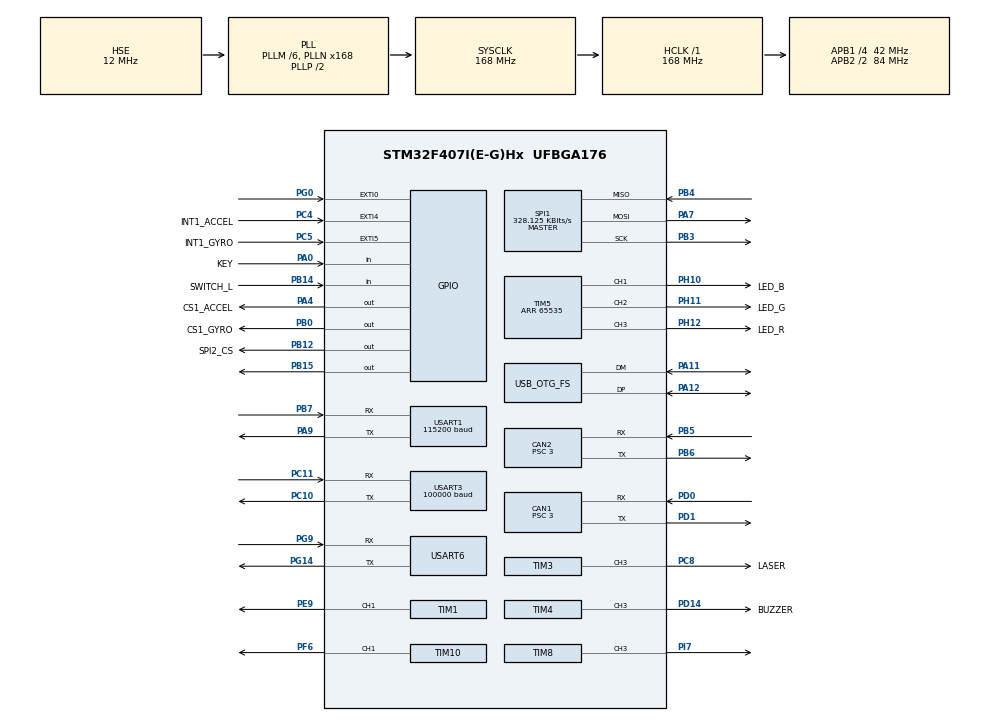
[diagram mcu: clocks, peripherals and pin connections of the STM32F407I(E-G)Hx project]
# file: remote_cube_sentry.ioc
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ADC1.Channel-0\#ChannelRegularConversion=ADC_CHANNEL_TEMPSENSOR
ADC1.ClockPrescaler=ADC_CLOCK_SYNC_PCLK_DIV6
ADC1.NbrOfConversionFlag=1
ADC1.Rank-0\#ChannelRegularConversion=1
ADC1.SamplingTime-0\#ChannelRegularConversion=ADC_SAMPLETIME_3CYCLES
ADC1.master=1
CAN1.ABOM=ENABLE
CAN1.BS1=CAN_BS1_10TQ
CAN1.BS2=CAN_BS2_3TQ
CAN1.CalculateBaudRate=1000000
CAN1.CalculateTimeBit=1000
CAN1.CalculateTimeQuantum=71.42857142857143
CAN1.NART=ENABLE
CAN1.Prescaler=3
CAN1.RFLM=DISABLE
CAN2.ABOM=ENABLE
CAN2.BS1=CAN_BS1_10TQ
CAN2.BS2=CAN_BS2_3TQ
CAN2.CalculateBaudRate=1000000
CAN2.CalculateTimeBit=1000
CAN2.CalculateTimeQuantum=71.42857142857143
CAN2.NART=ENABLE
CAN2.Prescaler=3
Dma.Request0=SPI1_RX
Dma.Request1=SPI1_TX
Dma.Request2=USART3_RX
Dma.Request3=USART6_RX
Dma.Request4=USART6_TX
Dma.SPI1_RX.0.Direction=DMA_PERIPH_TO_MEMORY
Dma.SPI1_RX.0.FIFOMode=DMA_FIFOMODE_DISABLE
Dma.SPI1_RX.0.Instance=DMA2_Stream2
Dma.SPI1_RX.0.MemDataAlignment=DMA_MDATAALIGN_BYTE
Dma.SPI1_RX.0.MemInc=DMA_MINC_ENABLE
Dma.SPI1_RX.0.Mode=DMA_NORMAL
Dma.SPI1_RX.0.PeriphDataAlignment=DMA_PDATAALIGN_BYTE
Dma.SPI1_RX.0.PeriphInc=DMA_PINC_DISABLE
Dma.SPI1_RX.0.Priority=DMA_PRIORITY_VERY_HIGH
Dma.SPI1_TX.1.Direction=DMA_MEMORY_TO_PERIPH
Dma.SPI1_TX.1.FIFOMode=DMA_FIFOMODE_DISABLE
Dma.SPI1_TX.1.Instance=DMA2_Stream3
Dma.SPI1_TX.1.MemDataAlignment=DMA_MDATAALIGN_BYTE
Dma.SPI1_TX.1.MemInc=DMA_MINC_ENABLE
Dma.SPI1_TX.1.Mode=DMA_NORMAL
Dma.SPI1_TX.1.PeriphDataAlignment=DMA_PDATAALIGN_BYTE
Dma.SPI1_TX.1.PeriphInc=DMA_PINC_DISABLE
Dma.SPI1_TX.1.Priority=DMA_PRIORITY_HIGH
Dma.USART3_RX.2.Direction=DMA_PERIPH_TO_MEMORY
Dma.USART3_RX.2.FIFOMode=DMA_FIFOMODE_DISABLE
Dma.USART3_RX.2.Instance=DMA1_Stream1
Dma.USART3_RX.2.MemDataAlignment=DMA_MDATAALIGN_BYTE
Dma.USART3_RX.2.MemInc=DMA_MINC_ENABLE
Dma.USART3_RX.2.Mode=DMA_NORMAL
Dma.USART3_RX.2.PeriphDataAlignment=DMA_PDATAALIGN_BYTE
Dma.USART3_RX.2.PeriphInc=DMA_PINC_DISABLE
Dma.USART3_RX.2.Priority=DMA_PRIORITY_HIGH
Dma.USART6_RX.3.Direction=DMA_PERIPH_TO_MEMORY
Dma.USART6_RX.3.FIFOMode=DMA_FIFOMODE_ENABLE
Dma.USART6_RX.3.FIFOThreshold=DMA_FIFO_THRESHOLD_FULL
Dma.USART6_RX.3.Instance=DMA2_Stream1
Dma.USART6_RX.3.MemBurst=DMA_MBURST_SINGLE
Dma.USART6_RX.3.MemDataAlignment=DMA_MDATAALIGN_BYTE
Dma.USART6_RX.3.MemInc=DMA_MINC_ENABLE
Dma.USART6_RX.3.Mode=DMA_NORMAL
Dma.USART6_RX.3.PeriphBurst=DMA_PBURST_SINGLE
Dma.USART6_RX.3.PeriphDataAlignment=DMA_PDATAALIGN_BYTE
Dma.USART6_RX.3.PeriphInc=DMA_PINC_DISABLE
Dma.USART6_RX.3.Priority=DMA_PRIORITY_HIGH
Dma.USART6_TX.4.Direction=DMA_MEMORY_TO_PERIPH
Dma.USART6_TX.4.FIFOMode=DMA_FIFOMODE_DISABLE
Dma.USART6_TX.4.Instance=DMA2_Stream6
Dma.USART6_TX.4.MemDataAlignment=DMA_MDATAALIGN_BYTE
Dma.USART6_TX.4.MemInc=DMA_MINC_ENABLE
Dma.USART6_TX.4.Mode=DMA_NORMAL
Dma.USART6_TX.4.PeriphDataAlignment=DMA_PDATAALIGN_BYTE
Dma.USART6_TX.4.PeriphInc=DMA_PINC_DISABLE
Dma.USART6_TX.4.Priority=DMA_PRIORITY_MEDIUM
FREERTOS.INCLUDE_eTaskGetState=1
FREERTOS.INCLUDE_pcTaskGetTaskName=1
FREERTOS.INCLUDE_uxTaskGetStackHighWaterMark=0
FREERTOS.INCLUDE_vTaskCleanUpResources=1
FREERTOS.INCLUDE_vTaskDelayUntil=1
FREERTOS.INCLUDE_xEventGroupSetBitFromISR=0
FREERTOS.INCLUDE_xQueueGetMutexHolder=1
FREERTOS.INCLUDE_xSemaphoreGetMutexHolder=1
FREERTOS.INCLUDE_xTaskAbortDelay=1
FREERTOS.INCLUDE_xTaskGetCurrentTaskHandle=1
FREERTOS.INCLUDE_xTaskGetHandle=1
FREERTOS.Tasks01=defaultTask,0,128,StartDefaultTask,Default,NULL,Dynamic,NULL,NULL;CalibrateTask,0,512,calibrate_task,As weak,NULL,Dynamic,NULL,NULL;ChassisTask,-2,512,chassis_task,As weak,NULL,Dynamic,NULL,NULL;gimbalTask,2,512,gimbal_task,As weak,NULL,Dynamic,NULL,NULL;imuTask,-3,512,INS_task,As weak,NULL,Dynamic,NULL,NULL;detectTask,-3,128,detect_task,As weak,NULL,Dynamic,NULL,NULL;RefereeTask,0,128,Referee_send_task,As weak,NULL,Dynamic,NULL,NULL;left_gimbalTask,0,128,left_gimbal,As weak,NULL,Dynamic,NULL,NULL;right_gimbalTas,0,128,right_gimbal,As weak,NULL,Dynamic,NULL,NULL
FREERTOS.configCHECK_FOR_STACK_OVERFLOW=0
FREERTOS.configTOTAL_HEAP_SIZE=24576
FREERTOS.configUSE_NEWLIB_REENTRANT=1
Mcu.Family=STM32F4
Mcu.Name=STM32F407I(E-G)Hx
Mcu.Package=UFBGA176
NVIC.CAN1_RX0_IRQn=true\:5\:0\:false\:false\:true\:true\:true\:true\:true
NVIC.CAN1_RX1_IRQn=true\:5\:0\:false\:false\:true\:true\:true\:true\:true
NVIC.CAN2_RX0_IRQn=true\:5\:0\:false\:false\:true\:true\:true\:true\:true
NVIC.CAN2_RX1_IRQn=true\:5\:0\:false\:false\:true\:true\:true\:true\:true
NVIC.DMA1_Stream1_IRQn=true\:5\:0\:false\:false\:true\:true\:false\:true\:true
NVIC.DMA2_Stream1_IRQn=true\:5\:0\:false\:false\:true\:true\:false\:true\:true
NVIC.DMA2_Stream2_IRQn=true\:5\:0\:false\:false\:false\:true\:false\:true\:true
NVIC.DMA2_Stream3_IRQn=true\:5\:0\:false\:false\:true\:true\:false\:true\:true
NVIC.DMA2_Stream6_IRQn=true\:5\:0\:false\:false\:true\:true\:false\:true\:true
NVIC.EXTI0_IRQn=true\:5\:0\:false\:false\:true\:true\:true\:true\:true
NVIC.EXTI4_IRQn=true\:5\:0\:false\:false\:true\:true\:true\:true\:true
NVIC.EXTI9_5_IRQn=true\:5\:0\:false\:false\:true\:true\:true\:true\:true
NVIC.OTG_FS_IRQn=true\:5\:0\:false\:false\:true\:true\:false\:true\:true
NVIC.PriorityGroup=NVIC_PRIORITYGROUP_4
NVIC.TIM2_IRQn=true\:15\:0\:false\:false\:true\:false\:false\:true\:true
NVIC.TimeBase=TIM2_IRQn
NVIC.TimeBaseIP=TIM2
NVIC.USART1_IRQn=true\:5\:0\:false\:false\:true\:true\:true\:true\:true
NVIC.USART3_IRQn=true\:5\:0\:false\:false\:false\:true\:true\:true\:true
NVIC.USART6_IRQn=true\:5\:0\:false\:false\:false\:true\:true\:true\:true
PA0-WKUP.GPIO_Label=KEY
PA0-WKUP.GPIO_PuPd=GPIO_PULLUP
PA0-WKUP.Signal=GPIO_Input
PA11.Mode=Device_Only
PA11.Signal=USB_OTG_FS_DM
PA12.Mode=Device_Only
PA12.Signal=USB_OTG_FS_DP
PA13.Mode=Serial_Wire
PA13.Signal=SYS_JTMS-SWDIO
PA14.Mode=Serial_Wire
PA14.Signal=SYS_JTCK-SWCLK
PA4.GPIO_Label=CS1_ACCEL
PA4.GPIO_PuPd=GPIO_PULLUP
PA4.GPIO_Speed=GPIO_SPEED_FREQ_HIGH
PA4.PinState=GPIO_PIN_SET
PA4.Signal=GPIO_Output
PA7.GPIO_PuPd=GPIO_PULLUP
PA7.Mode=Full_Duplex_Master
PA7.Signal=SPI1_MOSI
PA9.Mode=Asynchronous
PA9.Signal=USART1_TX
PB0.GPIO_Label=CS1_GYRO
PB0.GPIO_PuPd=GPIO_PULLUP
PB0.GPIO_Speed=GPIO_SPEED_FREQ_HIGH
PB0.PinState=GPIO_PIN_SET
PB0.Signal=GPIO_Output
PB12.GPIO_Label=SPI2_CS
PB12.GPIO_PuPd=GPIO_PULLUP
PB12.GPIO_Speed=GPIO_SPEED_FREQ_MEDIUM
PB12.PinState=GPIO_PIN_SET
PB12.Signal=GPIO_Output
PB14.GPIO_Label=SWITCH_L
PB14.GPIO_PuPd=GPIO_PULLDOWN
PB14.Signal=GPIO_Input
PB15.Signal=GPIO_Output
PB3.GPIO_PuPd=GPIO_PULLUP
PB3.Mode=Full_Duplex_Master
PB3.Signal=SPI1_SCK
PB4.GPIO_PuPd=GPIO_PULLUP
PB4.Mode=Full_Duplex_Master
PB4.Signal=SPI1_MISO
PB5.GPIO_PuPd=GPIO_PULLUP
PB5.Mode=CAN_Activate
PB5.Signal=CAN2_RX
PB6.GPIO_PuPd=GPIO_PULLUP
PB6.Mode=CAN_Activate
PB6.Signal=CAN2_TX
PB7.Mode=Asynchronous
PB7.Signal=USART1_RX
PC10.Mode=Asynchronous
PC10.Signal=USART3_TX
PC11.Mode=Asynchronous
PC11.Signal=USART3_RX
PC4.GPIO_Label=INT1_ACCEL
PC4.GPIO_ModeDefaultEXTI=GPIO_MODE_IT_FALLING
PC4.GPIO_PuPd=GPIO_PULLUP
PC4.Signal=GPXTI4
PC5.GPIO_Label=INT1_GYRO
PC5.GPIO_ModeDefaultEXTI=GPIO_MODE_IT_FALLING
PC5.GPIO_PuPd=GPIO_PULLUP
PC5.Signal=GPXTI5
PC6.Signal=S_TIM8_CH1
PC8.GPIO_Label=LASER
PC8.GPIO_PuPd=GPIO_PULLUP
PC8.GPIO_Speed=GPIO_SPEED_FREQ_HIGH
PC8.Signal=S_TIM3_CH3
PD0.GPIO_PuPd=GPIO_PULLUP
PD0.Mode=CAN_Activate
PD0.Signal=CAN1_RX
PD1.GPIO_PuPd=GPIO_PULLUP
PD1.Mode=CAN_Activate
PD1.Signal=CAN1_TX
PD14.GPIO_Label=BUZZER
PD14.GPIO_PuPd=GPIO_PULLUP
PD14.GPIO_Speed=GPIO_SPEED_FREQ_VERY_HIGH
PD14.Signal=S_TIM4_CH3
PE9.GPIO_PuPd=GPIO_PULLUP
PE9.GPIO_Speed=GPIO_SPEED_FREQ_HIGH
PE9.Signal=S_TIM1_CH1
PF6.GPIO_PuPd=GPIO_PULLUP
PF6.GPIO_Speed=GPIO_SPEED_FREQ_HIGH
PF6.Signal=S_TIM10_CH1
PG0.GPIO_ModeDefaultEXTI=GPIO_MODE_IT_FALLING
PG0.GPIO_PuPd=GPIO_PULLUP
PG0.Signal=GPXTI0
PG14.Mode=Asynchronous
PG14.Signal=USART6_TX
PG9.Mode=Asynchronous
PG9.Signal=USART6_RX
PH0-OSC_IN.Mode=HSE-External-Oscillator
PH0-OSC_IN.Signal=RCC_OSC_IN
PH1-OSC_OUT.Mode=HSE-External-Oscillator
PH1-OSC_OUT.Signal=RCC_OSC_OUT
PH10.GPIO_Label=LED_B
PH10.GPIO_PuPd=GPIO_PULLUP
PH10.GPIO_Speed=GPIO_SPEED_FREQ_HIGH
PH10.Signal=S_TIM5_CH1
PH11.GPIO_Label=LED_G
PH11.GPIO_PuPd=GPIO_PULLUP
PH11.GPIO_Speed=GPIO_SPEED_FREQ_HIGH
PH11.Signal=S_TIM5_CH2
PH12.GPIO_Label=LED_R
PH12.GPIO_PuPd=GPIO_PULLUP
PH12.GPIO_Speed=GPIO_SPEED_FREQ_HIGH
PH12.Signal=S_TIM5_CH3
PI7.GPIO_PuPd=GPIO_PULLUP
PI7.GPIO_Speed=GPIO_SPEED_FREQ_VERY_HIGH
PI7.Signal=S_TIM8_CH3
ProjectManager.HeapSize=0x2000
ProjectManager.StackSize=0x2000
ProjectManager.TargetToolchain=STM32CubeIDE
RCC.48MHZClocksFreq_Value=48000000
RCC.AHBFreq_Value=168000000
RCC.APB1CLKDivider=RCC_HCLK_DIV4
RCC.APB1Freq_Value=42000000
RCC.APB1TimFreq_Value=84000000
RCC.APB2CLKDivider=RCC_HCLK_DIV2
RCC.APB2Freq_Value=84000000
RCC.APB2TimCLKDivider=2
RCC.APB2TimFreq_Value=168000000
RCC.CortexFreq_Value=168000000
RCC.HCLKFreq_Value=168000000
RCC.HSE_VALUE=12000000
RCC.HSI_VALUE=16000000
RCC.LSE_VALUE=32768
RCC.PLLM=6
RCC.PLLN=168
RCC.PLLQ=7
RCC.RCC_RTC_Clock_SourceVirtual=RCC_RTCCLKSOURCE_HSE_DIV30
RCC.RCC_RTC_Clock_Source_FROM_HSE=RCC_RTCCLKSOURCE_HSE_DIV30
RCC.SYSCLKFreq_VALUE=168000000
RCC.SYSCLKSource=RCC_SYSCLKSOURCE_PLLCLK
RCC.VCOOutputFreq_Value=336000000
SH.S_TIM10_CH1.0=TIM10_CH1,PWM Generation1 CH1
SH.S_TIM1_CH1.0=TIM1_CH1,PWM Generation1 CH1
SH.S_TIM3_CH3.0=TIM3_CH3,PWM Generation3 CH3
SH.S_TIM4_CH3.0=TIM4_CH3,PWM Generation3 CH3
SH.S_TIM5_CH1.0=TIM5_CH1,PWM Generation1 CH1
SH.S_TIM5_CH2.0=TIM5_CH2,PWM Generation2 CH2
SH.S_TIM5_CH3.0=TIM5_CH3,PWM Generation3 CH3
SH.S_TIM8_CH1.0=TIM8_CH1
SH.S_TIM8_CH3.0=TIM8_CH3,PWM Generation3 CH3
SPI1.BaudRatePrescaler=SPI_BAUDRATEPRESCALER_256
SPI1.CLKPhase=SPI_PHASE_2EDGE
SPI1.CLKPolarity=SPI_POLARITY_HIGH
SPI1.CalculateBaudRate=328.125 KBits/s
SPI1.Direction=SPI_DIRECTION_2LINES
SPI1.Mode=SPI_MODE_MASTER
SPI1.VirtualType=VM_MASTER
TIM1.Channel-PWM\ Generation1\ CH1=TIM_CHANNEL_1
TIM1.Period=19999
TIM1.Prescaler=167
TIM1.Pulse-PWM\ Generation1\ CH1=1000
TIM10.Channel=TIM_CHANNEL_1
TIM10.Period=4999
TIM3.Channel-PWM\ Generation3\ CH3=TIM_CHANNEL_3
TIM3.Period=8399
TIM4.Channel-PWM\ Generation3\ CH3=TIM_CHANNEL_3
TIM4.Prescaler=167
TIM5.Channel-PWM\ Generation1\ CH1=TIM_CHANNEL_1
TIM5.Channel-PWM\ Generation2\ CH2=TIM_CHANNEL_2
TIM5.Channel-PWM\ Generation3\ CH3=TIM_CHANNEL_3
TIM5.Period=65535
TIM8.AutoReloadPreload=TIM_AUTORELOAD_PRELOAD_ENABLE
TIM8.Channel-PWM\ Generation3\ CH3=TIM_CHANNEL_3
TIM8.Period=3996
TIM8.Prescaler=167
TIM8.Pulse-PWM\ Generation3\ CH3=1000
USART1.BaudRate=115200
USART1.VirtualMode=VM_ASYNC
USART3.BaudRate=100000
USART3.Mode=MODE_RX
USART3.Parity=PARITY_EVEN
USART3.VirtualMode=VM_ASYNC
USART6.VirtualMode=VM_ASYNC
USB_DEVICE.CLASS_NAME_FS=CDC
USB_DEVICE.VirtualMode-CDC_FS=Cdc
USB_DEVICE.VirtualModeFS=Cdc_FS
USB_OTG_FS.VirtualMode=Device_Only
VP_ADC1_TempSens_Input.Mode=IN-TempSens
VP_ADC1_Vref_Input.Mode=IN-Vrefint
VP_CRC_VS_CRC.Mode=CRC_Activate
VP_FREERTOS_VS_CMSIS_V1.Mode=CMSIS_V1
VP_RNG_VS_RNG.Mode=RNG_Activate
VP_SYS_VS_tim2.Mode=TIM2
VP_TIM10_VS_ClockSourceINT.Mode=Enable_Timer
VP_TIM4_VS_ClockSourceINT.Mode=Internal
VP_TIM5_VS_ClockSourceINT.Mode=Internal
VP_USB_DEVICE_VS_USB_DEVICE_CDC_FS.Mode=CDC_FS
board=custom

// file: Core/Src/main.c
/* USER CODE BEGIN Header */
/**
  ******************************************************************************
  * @file           : main.c
  * @brief          : Main program body
  ******************************************************************************
  * @attention
  *
  * Copyright (c) 2022 STMicroelectronics.
  * All rights reserved.
  *
  * This software is licensed under terms that can be found in the LICENSE file
  * in the root directory of this software component.
  * If no LICENSE file comes with this software, it is provided AS-IS.
  *
  ******************************************************************************
  */
/* USER CODE END Header */
#include "main.h"
#include "cmsis_os.h"
#include "adc.h"
#include "can.h"
#include "crc.h"
#include "dma.h"
#include "rng.h"
#include "spi.h"
#include "tim.h"
#include "usart.h"
#include "gpio.h"

/* USER CODE BEGIN Includes */
#include "bsp_delay.h"
#include "bsp_usart.h"
#include "remote.h"
#include "bsp_can.h"
#include "Calibrate.h"
#include "bsp_dwt.h"
/* USER CODE END Includes */

/* USER CODE BEGIN PTD */
//extern uint8_t usart1_receive_buf[200];
/* USER CODE END PTD */

void SystemClock_Config(void);
void MX_FREERTOS_Init(void);

int main(void)
{

  /* MCU Configuration--------------------------------------------------------*/

  /* Reset of all peripherals, Initializes the Flash interface and the Systick. */
  HAL_Init();

  /* Configure the system clock */
  SystemClock_Config();

  /* Initialize all configured peripherals */
  MX_GPIO_Init();
  MX_DMA_Init();
  MX_CAN1_Init();
  MX_CAN2_Init();
  MX_SPI1_Init();
  MX_TIM4_Init();
  MX_TIM5_Init();
  MX_USART3_UART_Init();
  MX_USART6_UART_Init();
  MX_TIM3_Init();
  MX_TIM10_Init();
  MX_ADC1_Init();
  MX_CRC_Init();
  MX_RNG_Init();
  MX_TIM1_Init();
  MX_TIM8_Init();
  MX_USART1_UART_Init();
  /* USER CODE BEGIN 2 */
    can_filter_init();
    delay_init();
    HAL_TIM_PWM_Start(&htim8,TIM_CHANNEL_3);
    HAL_TIM_PWM_Start(&htim8,TIM_CHANNEL_2);
//    usart6_init(&usart6_buf[0], REFEREE_BUFFER_SIZE);

    cali_param_init();
    remote_control_init();
  /* USER CODE END 2 */

  /* Call init function for freertos objects (in freertos.c) */
  MX_FREERTOS_Init();

  /* Start scheduler */
  osKernelStart();

  /* We should never get here as control is now taken by the scheduler */
  /* Infinite loop */
    while (1)
    {

    }
}

void SystemClock_Config(void)
{
  RCC_OscInitTypeDef RCC_OscInitStruct = {0};
  RCC_ClkInitTypeDef RCC_ClkInitStruct = {0};

  /** Configure the main internal regulator output voltage
  */
  __HAL_RCC_PWR_CLK_ENABLE();
  __HAL_PWR_VOLTAGESCALING_CONFIG(PWR_REGULATOR_VOLTAGE_SCALE1);

  /** Initializes the RCC Oscillators according to the specified parameters
  * in the RCC_OscInitTypeDef structure.
  */
  RCC_OscInitStruct.OscillatorType = RCC_OSCILLATORTYPE_HSE;
  RCC_OscInitStruct.HSEState = RCC_HSE_ON;
  RCC_OscInitStruct.PLL.PLLState = RCC_PLL_ON;
  RCC_OscInitStruct.PLL.PLLSource = RCC_PLLSOURCE_HSE;
  RCC_OscInitStruct.PLL.PLLM = 6;
  RCC_OscInitStruct.PLL.PLLN = 168;
  RCC_OscInitStruct.PLL.PLLP = RCC_PLLP_DIV2;
  RCC_OscInitStruct.PLL.PLLQ = 7;
  if (HAL_RCC_OscConfig(&RCC_OscInitStruct) != HAL_OK)
  {
    Error_Handler();
  }

  /** Initializes the CPU, AHB and APB buses clocks
  */
  RCC_ClkInitStruct.ClockType = RCC_CLOCKTYPE_HCLK|RCC_CLOCKTYPE_SYSCLK
                              |RCC_CLOCKTYPE_PCLK1|RCC_CLOCKTYPE_PCLK2;
  RCC_ClkInitStruct.SYSCLKSource = RCC_SYSCLKSOURCE_PLLCLK;
  RCC_ClkInitStruct.AHBCLKDivider = RCC_SYSCLK_DIV1;
  RCC_ClkInitStruct.APB1CLKDivider = RCC_HCLK_DIV4;
  RCC_ClkInitStruct.APB2CLKDivider = RCC_HCLK_DIV2;

  if (HAL_RCC_ClockConfig(&RCC_ClkInitStruct, FLASH_LATENCY_5) != HAL_OK)
  {
    Error_Handler();
  }
}

/* USER CODE BEGIN 4 */
uint8_t CANx_SendStdData(CAN_HandleTypeDef* hcan,uint16_t ID,uint8_t *pData,uint16_t Len)
{
    static CAN_TxHeaderTypeDef   Tx_Header;

    Tx_Header.StdId=ID;
    Tx_Header.ExtId=0;
    Tx_Header.IDE=0;
    Tx_Header.RTR=0;
    Tx_Header.DLC=Len;

    /*找到空的发送邮箱，把数据发送出去*/
    if(HAL_CAN_AddTxMessage(hcan, &Tx_Header, pData, (uint32_t*)CAN_TX_MAILBOX0) != HAL_OK) //
    {
        if(HAL_CAN_AddTxMessage(hcan, &Tx_Header, pData, (uint32_t*)CAN_TX_MAILBOX1) != HAL_OK)
        {
            HAL_CAN_AddTxMessage(hcan, &Tx_Header, pData, (uint32_t*)CAN_TX_MAILBOX2);
        }
    }
}
/* USER CODE END 4 */

void HAL_TIM_PeriodElapsedCallback(TIM_HandleTypeDef *htim)
{
  if (htim->Instance == TIM2) {
    HAL_IncTick();
  }
}

void Error_Handler(void)
{
  /* USER CODE BEGIN Error_Handler_Debug */
    /* User can add his own implementation to report the HAL error return state */
    __disable_irq();
    while (1)
    {
        //调试时使用
        break;
    }
  /* USER CODE END Error_Handler_Debug */
}

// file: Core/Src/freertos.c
/* USER CODE BEGIN Header */
/**
  ******************************************************************************
  * File Name          : freertos.c
  * Description        : Code for freertos applications
  ******************************************************************************
  * @attention
  *
  * Copyright (c) 2022 STMicroelectronics.
  * All rights reserved.
  *
  * This software is licensed under terms that can be found in the LICENSE file
  * in the root directory of this software component.
  * If no LICENSE file comes with this software, it is provided AS-IS.
  *
  ******************************************************************************
  */
/* USER CODE END Header */

#include "FreeRTOS.h"
#include "task.h"
#include "main.h"
#include "cmsis_os.h"

/* USER CODE BEGIN Includes */
#include "queue.h"
#include "bsp_can.h"

/* USER CODE END Includes */

/* USER CODE BEGIN Variables */
osThreadId usb_task_handle;
osThreadId decode_task_handle;
osThreadId can_decode_task_handle;
/* USER CODE END Variables */
osThreadId defaultTaskHandle;
osThreadId CalibrateTaskHandle;
osThreadId ChassisTaskHandle;
osThreadId imuTaskHandle;
osThreadId detectTaskHandle;

void StartDefaultTask(void const * argument);
void calibrate_task(void const * argument);
void chassis_task(void const * argument);
void INS_task(void const * argument);
void detect_task(void const * argument);

void MX_FREERTOS_Init(void); /* (MISRA C 2004 rule 8.1) */

/* GetIdleTaskMemory prototype (linked to static allocation support) */
void vApplicationGetIdleTaskMemory( StaticTask_t **ppxIdleTaskTCBBuffer, StackType_t **ppxIdleTaskStackBuffer, uint32_t *pulIdleTaskStackSize );

/* USER CODE BEGIN GET_IDLE_TASK_MEMORY */
static StaticTask_t xIdleTaskTCBBuffer;
static StackType_t xIdleStack[configMINIMAL_STACK_SIZE];

void vApplicationGetIdleTaskMemory( StaticTask_t **ppxIdleTaskTCBBuffer, StackType_t **ppxIdleTaskStackBuffer, uint32_t *pulIdleTaskStackSize )
{
    *ppxIdleTaskTCBBuffer = &xIdleTaskTCBBuffer;
    *ppxIdleTaskStackBuffer = &xIdleStack[0];
    *pulIdleTaskStackSize = configMINIMAL_STACK_SIZE;
    /* place for user code */
}
QueueHandle_t CDC_send_queue;
/* USER CODE END GET_IDLE_TASK_MEMORY */

void MX_FREERTOS_Init(void) {

  /* USER CODE BEGIN RTOS_QUEUES */
    /* add queues, ... */
    CDC_send_queue = xQueueCreate(5, 256);

  /* USER CODE END RTOS_QUEUES */

  /* Create the thread(s) */
  /* definition and creation of defaultTask */
  osThreadDef(defaultTask, StartDefaultTask, osPriorityNormal, 0, 128);
  defaultTaskHandle = osThreadCreate(osThread(defaultTask), NULL);

  /* definition and creation of CalibrateTask */
  osThreadDef(CalibrateTask, calibrate_task, osPriorityNormal, 0, 512);
  CalibrateTaskHandle = osThreadCreate(osThread(CalibrateTask), NULL);

  /* definition and creation of ChassisTask */
  osThreadDef(ChassisTask, chassis_task, osPriorityLow, 0, 512);
  ChassisTaskHandle = osThreadCreate(osThread(ChassisTask), NULL);

  /* definition and creation of imuTask */
  osThreadDef(imuTask, INS_task, osPriorityIdle, 0, 512);
  imuTaskHandle = osThreadCreate(osThread(imuTask), NULL);

  /* definition and creation of detectTask */
  osThreadDef(detectTask, detect_task, osPriorityIdle, 0, 128);
  detectTaskHandle = osThreadCreate(osThread(detectTask), NULL);
  /* USER CODE END RTOS_THREADS */

}

void StartDefaultTask(void const * argument)
{
  /* init code for USB_DEVICE */
//  MX_USB_DEVICE_Init();
    for(;;)
    {
        osDelay(1);
    }
}

__weak void calibrate_task(void const * argument)
{
    for(;;)
    {
        osDelay(1);
    }
}

__weak void chassis_task(void const * argument)
{
    for(;;)
    {
        osDelay(1);
    }
}

__weak void gimbal_task(void const * argument)
{
    for(;;)
    {
        osDelay(1);
    }
}

__weak void INS_task(void const * argument)
{
    for(;;)
    {
        osDelay(1);
    }
}

__weak void detect_task(void const * argument)
{
    for(;;)
    {
        osDelay(1);
    }
}

__weak void Referee_send_task(void const * argument)
{
    for(;;)
    {
        osDelay(1);
    }
}

__weak void left_gimbal(void const * argument)
{
    for(;;)
    {
        osDelay(1);
    }
}

__weak void right_gimbal(void const * argument)
{
    for(;;)
    {
        osDelay(1);
    }
}
